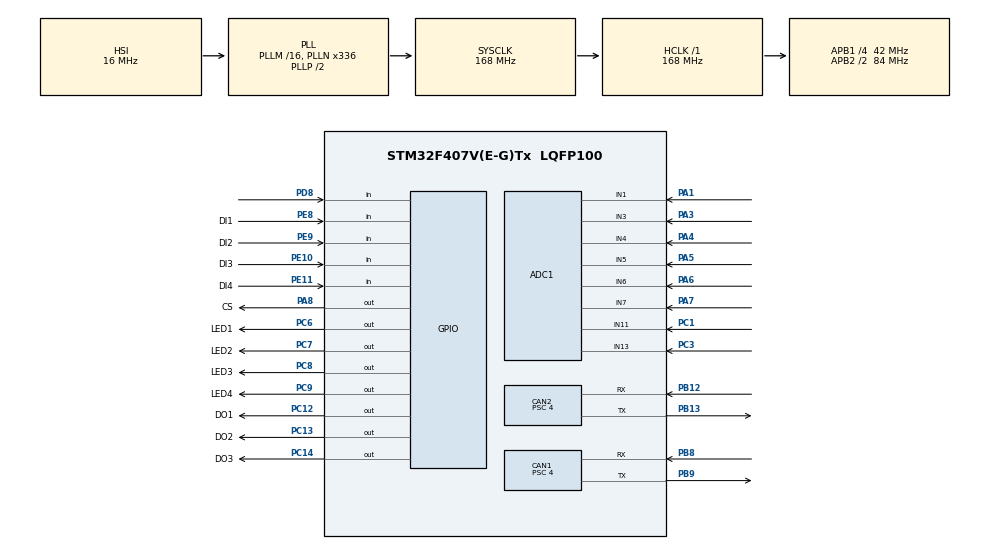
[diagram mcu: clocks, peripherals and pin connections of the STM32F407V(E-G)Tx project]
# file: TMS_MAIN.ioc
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ADC1.Channel-0\#ChannelRegularConversion=ADC_CHANNEL_11
ADC1.Channel-1\#ChannelRegularConversion=ADC_CHANNEL_13
ADC1.Channel-2\#ChannelRegularConversion=ADC_CHANNEL_1
ADC1.Channel-3\#ChannelRegularConversion=ADC_CHANNEL_3
ADC1.Channel-4\#ChannelRegularConversion=ADC_CHANNEL_5
ADC1.DMAContinuousRequests=DISABLE
ADC1.EOCSelection=ADC_EOC_SINGLE_CONV
ADC1.NbrOfConversion=1
ADC1.NbrOfConversionFlag=1
ADC1.Rank-0\#ChannelRegularConversion=1
ADC1.Rank-1\#ChannelRegularConversion=2
ADC1.Rank-2\#ChannelRegularConversion=3
ADC1.Rank-3\#ChannelRegularConversion=4
ADC1.Rank-4\#ChannelRegularConversion=5
ADC1.SamplingTime-0\#ChannelRegularConversion=ADC_SAMPLETIME_56CYCLES
ADC1.SamplingTime-1\#ChannelRegularConversion=ADC_SAMPLETIME_56CYCLES
ADC1.SamplingTime-2\#ChannelRegularConversion=ADC_SAMPLETIME_56CYCLES
ADC1.SamplingTime-3\#ChannelRegularConversion=ADC_SAMPLETIME_56CYCLES
ADC1.SamplingTime-4\#ChannelRegularConversion=ADC_SAMPLETIME_56CYCLES
ADC1.ScanConvMode=DISABLE
ADC1.master=1
CAN1.BS1=CAN_BS1_12TQ
CAN1.BS2=CAN_BS2_8TQ
CAN1.CalculateBaudRate=500000
CAN1.CalculateTimeBit=2000
CAN1.CalculateTimeQuantum=95.23809523809524
CAN1.Prescaler=4
CAN2.BS1=CAN_BS1_12TQ
CAN2.BS2=CAN_BS2_8TQ
CAN2.CalculateBaudRate=500000
CAN2.CalculateTimeBit=2000
CAN2.CalculateTimeQuantum=95.23809523809524
CAN2.Prescaler=4
Mcu.Family=STM32F4
Mcu.Name=STM32F407V(E-G)Tx
Mcu.Package=LQFP100
NVIC.ADC_IRQn=true\:0\:0\:false\:false\:true\:true\:true\:true
NVIC.PriorityGroup=NVIC_PRIORITYGROUP_4
PA1.Signal=ADCx_IN1
PA13.Mode=Trace_Asynchronous_SW
PA13.Signal=SYS_JTMS-SWDIO
PA14.Mode=Trace_Asynchronous_SW
PA14.Signal=SYS_JTCK-SWCLK
PA3.Signal=ADCx_IN3
PA4.Signal=ADCx_IN4
PA5.Signal=ADCx_IN5
PA6.Signal=ADCx_IN6
PA7.Signal=ADCx_IN7
PA8.GPIO_Label=CS
PA8.Signal=GPIO_Output
PB12.Mode=CAN_Activate
PB12.Signal=CAN2_RX
PB13.Mode=CAN_Activate
PB13.Signal=CAN2_TX
PB3.Mode=Trace_Asynchronous_SW
PB3.Signal=SYS_JTDO-SWO
PB8.Mode=CAN_Activate
PB8.Signal=CAN1_RX
PB9.Mode=CAN_Activate
PB9.Signal=CAN1_TX
PC1.Signal=ADCx_IN11
PC12.GPIO_Label=DO1
PC12.Signal=GPIO_Output
PC13-ANTI_TAMP.GPIO_Label=DO2
PC13-ANTI_TAMP.Signal=GPIO_Output
PC14-OSC32_IN.GPIO_Label=DO3
PC14-OSC32_IN.Signal=GPIO_Output
PC3.Signal=ADCx_IN13
PC6.GPIO_Label=LED1
PC6.Signal=GPIO_Output
PC7.GPIO_Label=LED2
PC7.Signal=GPIO_Output
PC8.GPIO_Label=LED3
PC8.Signal=GPIO_Output
PC9.GPIO_Label=LED4
PC9.Signal=GPIO_Output
PD8.Signal=GPIO_Input
PE10.GPIO_Label=DI3
PE10.Signal=GPIO_Input
PE11.GPIO_Label=DI4
PE11.Signal=GPIO_Input
PE8.GPIO_Label=DI1
PE8.Signal=GPIO_Input
PE9.GPIO_Label=DI2
PE9.Signal=GPIO_Input
PH0-OSC_IN.Mode=HSE-External-Clock-Source
PH0-OSC_IN.Signal=RCC_OSC_IN
PH1-OSC_OUT.Mode=HSE-External-Clock-Source
PH1-OSC_OUT.Signal=RCC_OSC_OUT
ProjectManager.HeapSize=0x200
ProjectManager.StackSize=0x400
ProjectManager.TargetToolchain=STM32CubeIDE
RCC.48MHZClocksFreq_Value=84000000
RCC.AHBFreq_Value=168000000
RCC.APB1CLKDivider=RCC_HCLK_DIV4
RCC.APB1Freq_Value=42000000
RCC.APB1TimFreq_Value=84000000
RCC.APB2CLKDivider=RCC_HCLK_DIV2
RCC.APB2Freq_Value=84000000
RCC.APB2TimFreq_Value=168000000
RCC.CortexFreq_Value=168000000
RCC.HCLKFreq_Value=168000000
RCC.HSE_VALUE=24000000
RCC.HSI_VALUE=16000000
RCC.LSE_VALUE=32768
RCC.PLLN=336
RCC.SYSCLKFreq_VALUE=168000000
RCC.SYSCLKSource=RCC_SYSCLKSOURCE_PLLCLK
RCC.VCOOutputFreq_Value=336000000
SH.ADCx_IN1.0=ADC1_IN1,IN1
SH.ADCx_IN11.0=ADC1_IN11,IN11
SH.ADCx_IN13.0=ADC1_IN13,IN13
SH.ADCx_IN3.0=ADC1_IN3,IN3
SH.ADCx_IN4.0=ADC1_IN4,IN4
SH.ADCx_IN5.0=ADC1_IN5,IN5
SH.ADCx_IN6.0=ADC1_IN6,IN6
SH.ADCx_IN7.0=ADC1_IN7,IN7
board=custom

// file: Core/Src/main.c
/* USER CODE BEGIN Header */
/**
  ******************************************************************************
  * @file           : main.c
  * @brief          : Main program body
  ******************************************************************************
  * @attention
  *
  * Copyright (c) 2026 STMicroelectronics.
  * All rights reserved.
  *
  * This software is licensed under terms that can be found in the LICENSE file
  * in the root directory of this software component.
  * If no LICENSE file comes with this software, it is provided AS-IS.
  *
  ******************************************************************************
  */
/* USER CODE END Header */
#include "main.h"
#include "adc.h"
#include "can.h"
#include "gpio.h"

/* USER CODE BEGIN Includes */
#include "can_tms.h"
//#include "ads1256.h"
#include "thermistor.h"
#include <stdint.h>
/* USER CODE END Includes */

/* USER CODE BEGIN PD */
#define TMS_TX_TICK_MS         100u  /* 10 Hz per-module thermistor data */
#define TMS_ADDR_CLAIM_DECIM   2u    /* every 2nd tick (= 200 ms) emits address claim */
/* USER CODE END PD */

/* USER CODE BEGIN PV */
uint32_t seg_raw[CAN_TMS_THERMS_PER_MODULE];
/* USER CODE END PV */

void SystemClock_Config(void);

int main(void)
{

  /* MCU Configuration--------------------------------------------------------*/

  /* Reset of all peripherals, Initializes the Flash interface and the Systick. */
  HAL_Init();

  /* Configure the system clock */
  SystemClock_Config();

  /* USER CODE BEGIN SysInit */
  __HAL_RCC_CAN2_CLK_ENABLE();
  __HAL_RCC_CAN1_CLK_ENABLE();

  /* USER CODE END SysInit */

  /* Initialize all configured peripherals */
  MX_GPIO_Init();
  MX_CAN1_Init();
  MX_CAN2_Init();
  MX_ADC1_Init();
  /* USER CODE BEGIN 2 */
  can_tms_init();
  //ads1256_init();

  /* Latest raw count per pack thermistor + per-channel conversion-OK flags. */

  static uint8_t  seg_valid[CAN_TMS_THERMS_PER_MODULE] = {0};

  uint32_t last_tx_tick = HAL_GetTick();
  uint32_t tick_count = 0;
  /* USER CODE END 2 */

  /* Infinite loop */
  while (1)
  {

    /* USER CODE BEGIN 3 */
    if ((HAL_GetTick() - last_tx_tick) >= TMS_TX_TICK_MS) {
      last_tx_tick += TMS_TX_TICK_MS;
      tick_count++;

      /* Read all pack thermistors sequentially (polled, one at a time). */
      adc_read_segments(seg_raw, seg_valid);

      /* Convert (PLACEHOLDER curve) + reduce to one Orion module frame. */
      can_tms_module_data_t module_data;
      thermistor_build_module_data(seg_raw, seg_valid, &module_data);

      (void)can_tms_send_module_data(CAN_TMS_MODULE_INDEX, &module_data);

      if ((tick_count % TMS_ADDR_CLAIM_DECIM) == 0) {
        (void)can_tms_send_address_claim(CAN_TMS_MODULE_INDEX);
      }
    }
  }
  /* USER CODE END 3 */
}

void SystemClock_Config(void)
{
  RCC_OscInitTypeDef RCC_OscInitStruct = {0};
  RCC_ClkInitTypeDef RCC_ClkInitStruct = {0};

  /** Configure the main internal regulator output voltage
  */
  __HAL_RCC_PWR_CLK_ENABLE();
  __HAL_PWR_VOLTAGESCALING_CONFIG(PWR_REGULATOR_VOLTAGE_SCALE1);

  /** Initializes the RCC Oscillators according to the specified parameters
  * in the RCC_OscInitTypeDef structure.
  */
  RCC_OscInitStruct.OscillatorType = RCC_OSCILLATORTYPE_HSI;
  RCC_OscInitStruct.HSIState = RCC_HSI_ON;
  RCC_OscInitStruct.HSICalibrationValue = RCC_HSICALIBRATION_DEFAULT;
  RCC_OscInitStruct.PLL.PLLState = RCC_PLL_ON;
  RCC_OscInitStruct.PLL.PLLSource = RCC_PLLSOURCE_HSI;
  RCC_OscInitStruct.PLL.PLLM = 16;
  RCC_OscInitStruct.PLL.PLLN = 336;
  RCC_OscInitStruct.PLL.PLLP = RCC_PLLP_DIV2;
  RCC_OscInitStruct.PLL.PLLQ = 4;
  if (HAL_RCC_OscConfig(&RCC_OscInitStruct) != HAL_OK)
  {
    Error_Handler();
  }

  /** Initializes the CPU, AHB and APB buses clocks
  */
  RCC_ClkInitStruct.ClockType = RCC_CLOCKTYPE_HCLK|RCC_CLOCKTYPE_SYSCLK
                              |RCC_CLOCKTYPE_PCLK1|RCC_CLOCKTYPE_PCLK2;
  RCC_ClkInitStruct.SYSCLKSource = RCC_SYSCLKSOURCE_PLLCLK;
  RCC_ClkInitStruct.AHBCLKDivider = RCC_SYSCLK_DIV1;
  RCC_ClkInitStruct.APB1CLKDivider = RCC_HCLK_DIV4;
  RCC_ClkInitStruct.APB2CLKDivider = RCC_HCLK_DIV2;

  if (HAL_RCC_ClockConfig(&RCC_ClkInitStruct, FLASH_LATENCY_5) != HAL_OK)
  {
    Error_Handler();
  }
}

void Error_Handler(void)
{
  __disable_irq();
  while (1)
  {
  }
}
